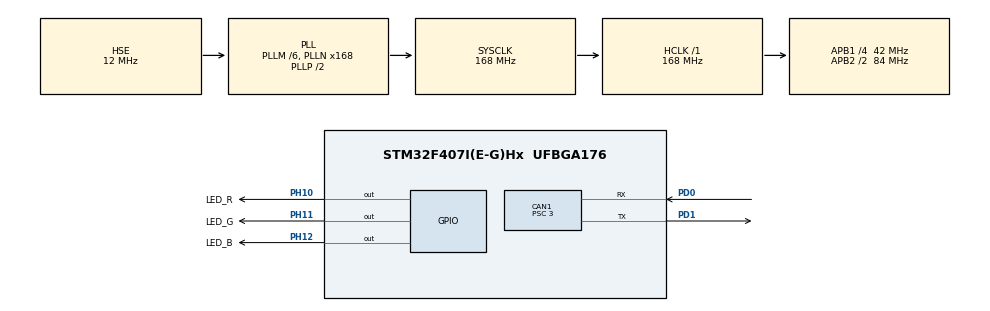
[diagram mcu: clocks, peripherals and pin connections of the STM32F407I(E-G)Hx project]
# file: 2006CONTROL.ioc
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CAN1.BS1=CAN_BS1_10TQ
CAN1.BS2=CAN_BS2_3TQ
CAN1.CalculateBaudRate=1000000
CAN1.CalculateTimeBit=1000
CAN1.CalculateTimeQuantum=71.42857142857143
CAN1.Prescaler=3
Mcu.Family=STM32F4
Mcu.Name=STM32F407I(E-G)Hx
Mcu.Package=UFBGA176
NVIC.CAN1_RX0_IRQn=true\:0\:0\:false\:false\:true\:true\:true\:true
NVIC.CAN1_TX_IRQn=true\:0\:0\:false\:false\:true\:true\:true\:true
NVIC.PriorityGroup=NVIC_PRIORITYGROUP_4
PA13.Mode=Serial_Wire
PA13.Signal=SYS_JTMS-SWDIO
PA14.Mode=Serial_Wire
PA14.Signal=SYS_JTCK-SWCLK
PD0.Mode=CAN_Activate
PD0.Signal=CAN1_RX
PD1.Mode=CAN_Activate
PD1.Signal=CAN1_TX
PH0-OSC_IN.Mode=HSE-External-Oscillator
PH0-OSC_IN.Signal=RCC_OSC_IN
PH1-OSC_OUT.Mode=HSE-External-Oscillator
PH1-OSC_OUT.Signal=RCC_OSC_OUT
PH10.GPIO_Label=LED_R
PH10.Signal=GPIO_Output
PH11.GPIO_Label=LED_G
PH11.Signal=GPIO_Output
PH12.GPIO_Label=LED_B
PH12.Signal=GPIO_Output
ProjectManager.HeapSize=0x200
ProjectManager.StackSize=0x400
ProjectManager.TargetToolchain=MDK-ARM V5.32
RCC.48MHZClocksFreq_Value=84000000
RCC.AHBFreq_Value=168000000
RCC.APB1CLKDivider=RCC_HCLK_DIV4
RCC.APB1Freq_Value=42000000
RCC.APB1TimFreq_Value=84000000
RCC.APB2CLKDivider=RCC_HCLK_DIV2
RCC.APB2Freq_Value=84000000
RCC.APB2TimFreq_Value=168000000
RCC.CortexFreq_Value=168000000
RCC.HCLKFreq_Value=168000000
RCC.HSE_VALUE=12000000
RCC.HSI_VALUE=16000000
RCC.LSE_VALUE=32768
RCC.PLLM=6
RCC.PLLN=168
RCC.PLLSourceVirtual=RCC_PLLSOURCE_HSE
RCC.SYSCLKFreq_VALUE=168000000
RCC.SYSCLKSource=RCC_SYSCLKSOURCE_PLLCLK
RCC.VCOOutputFreq_Value=336000000
board=custom

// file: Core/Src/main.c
/* USER CODE BEGIN Header */
/**
  ******************************************************************************
  * @file           : main.c
  * @brief          : Main program body
  ******************************************************************************
  * @attention
  *
  * Copyright (c) 2023 STMicroelectronics.
  * All rights reserved.
  *
  * This software is licensed under terms that can be found in the LICENSE file
  * in the root directory of this software component.
  * If no LICENSE file comes with this software, it is provided AS-IS.
  *
  ******************************************************************************
  */
/* USER CODE END Header */
#include "main.h"
#include "can.h"
#include "gpio.h"

/* USER CODE BEGIN Includes */
#include "pid.h"
#include "bsp_can.h";
/* USER CODE END Includes */

/* USER CODE BEGIN PD */
#define ABS(x)		((x>0)? x: -x)
/* USER CODE END PD */

/* USER CODE BEGIN PV */
CascadePID_Typedef Motor;
PID_TypeDef motor_pid[4];
int32_t set_spd = 0;
float set_angle=10000;
/* USER CODE END PV */

void SystemClock_Config(void);

int main(void)
{

  /* MCU Configuration--------------------------------------------------------*/

  /* Reset of all peripherals, Initializes the Flash interface and the Systick. */
  HAL_Init();

  /* Configure the system clock */
  SystemClock_Config();

  /* Initialize all configured peripherals */
  MX_GPIO_Init();
  MX_CAN1_Init();
  /* USER CODE BEGIN 2 */
  my_can_filter_init_recv_all(&hcan1);
  __HAL_CAN_ENABLE_IT(&hcan1,CAN_RX_FIFO0);

  // for(int i=0; i<4; i++)
  // {

  //   pid_init(&motor_pid[i]);
  //   pid_param_init(&motor_pid[i],PID_Speed,16384,5000,10,0,8000,0,1.5,0.1,0);

  // }

//  pid_init(Motor.inner);
  pid_param_init(&Motor.inner,PID_Speed,16384,5000,10,0,8000,0,1.5,0.1,0);

//  pid_init(Motor.outer);
  pid_param_init(&Motor.outer,PID_Speed,16384,5000,10,0,8000,0,1.5,0.1,0);

	HAL_GPIO_TogglePin(GPIOH,GPIO_PIN_12);
  /* USER CODE END 2 */

  /* Infinite loop */
  while (1)
  {

    /* USER CODE BEGIN 3 */

    Motor.outer.target=set_angle;
    PID_CascadeCalc(&Motor,moto_chassis[0].angle,moto_chassis[0].speed_rpm);
    set_Cascademoto_current(&hcan1,Motor.output);
//		set_Cascademoto_current(&hcan1,1000);

  }
  /* USER CODE END 3 */
}

void SystemClock_Config(void)
{
  RCC_OscInitTypeDef RCC_OscInitStruct = {0};
  RCC_ClkInitTypeDef RCC_ClkInitStruct = {0};

  /** Configure the main internal regulator output voltage
  */
  __HAL_RCC_PWR_CLK_ENABLE();
  __HAL_PWR_VOLTAGESCALING_CONFIG(PWR_REGULATOR_VOLTAGE_SCALE1);

  /** Initializes the RCC Oscillators according to the specified parameters
  * in the RCC_OscInitTypeDef structure.
  */
  RCC_OscInitStruct.OscillatorType = RCC_OSCILLATORTYPE_HSE;
  RCC_OscInitStruct.HSEState = RCC_HSE_ON;
  RCC_OscInitStruct.PLL.PLLState = RCC_PLL_ON;
  RCC_OscInitStruct.PLL.PLLSource = RCC_PLLSOURCE_HSE;
  RCC_OscInitStruct.PLL.PLLM = 6;
  RCC_OscInitStruct.PLL.PLLN = 168;
  RCC_OscInitStruct.PLL.PLLP = RCC_PLLP_DIV2;
  RCC_OscInitStruct.PLL.PLLQ = 4;
  if (HAL_RCC_OscConfig(&RCC_OscInitStruct) != HAL_OK)
  {
    Error_Handler();
  }

  /** Initializes the CPU, AHB and APB buses clocks
  */
  RCC_ClkInitStruct.ClockType = RCC_CLOCKTYPE_HCLK|RCC_CLOCKTYPE_SYSCLK
                              |RCC_CLOCKTYPE_PCLK1|RCC_CLOCKTYPE_PCLK2;
  RCC_ClkInitStruct.SYSCLKSource = RCC_SYSCLKSOURCE_PLLCLK;
  RCC_ClkInitStruct.AHBCLKDivider = RCC_SYSCLK_DIV1;
  RCC_ClkInitStruct.APB1CLKDivider = RCC_HCLK_DIV4;
  RCC_ClkInitStruct.APB2CLKDivider = RCC_HCLK_DIV2;

  if (HAL_RCC_ClockConfig(&RCC_ClkInitStruct, FLASH_LATENCY_5) != HAL_OK)
  {
    Error_Handler();
  }
}

void Error_Handler(void)
{
  __disable_irq();
  while (1)
  {
  }
}
